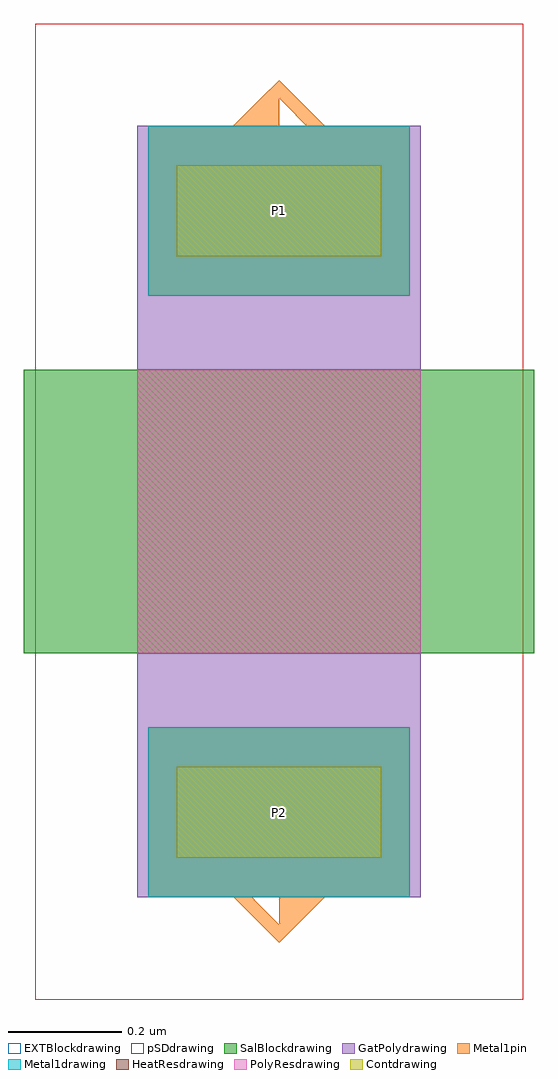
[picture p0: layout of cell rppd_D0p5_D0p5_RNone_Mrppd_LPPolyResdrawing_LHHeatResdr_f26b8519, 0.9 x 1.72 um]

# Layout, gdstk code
import gdstk
lib = gdstk.Library(unit=1e-6, precision=1e-09)
def R(c, l, rs):  # rectangles x0, y0, x1, y1
    for r in rs: c.add(gdstk.rectangle(r[:2], r[2:], *l))
def P(c, l, *ps):  # polygons
    for p in ps: c.add(gdstk.Polygon(p, *l))
GatPolydrawing = (5, 0)
Contdrawing = (6, 0)
Metal1drawing = (8, 0)
Metal1pin = (8, 2)
pSDdrawing = (14, 0)
SalBlockdrawing = (28, 0)
HeatResdrawing = (52, 0)
EXTBlockdrawing = (111, 0)
PolyResdrawing = (128, 0)

rectangle_gdsfactorypcom = lib.new_cell('rectangle_gdsfactorypcomponentspshapesprectangle_S0p9_0_e9f9a192')
R(rectangle_gdsfactorypcom, SalBlockdrawing, [(0,0,0.9,0.5)])

c_rectangle_gdsfactorypcom = lib.new_cell('rectangle_gdsfactorypcomponentspshapesprectangle_S0p9_0_a8e4ce53')
R(c_rectangle_gdsfactorypcom, EXTBlockdrawing, [(0,0,0.9,0.5)])

c_rectangle_gdsfactorypcom_ = lib.new_cell('rectangle_gdsfactorypcomponentspshapesprectangle_S0p86__0ea5da1c')
R(c_rectangle_gdsfactorypcom_, pSDdrawing, [(0,0,0.86,1.72)])

c_rectangle_gdsfactorypcom__ = lib.new_cell('rectangle_gdsfactorypcomponentspshapesprectangle_S0p86__1fb207a9')
R(c_rectangle_gdsfactorypcom__, EXTBlockdrawing, [(0,0,0.86,1.72)])

c_rectangle_gdsfactorypcom___ = lib.new_cell('rectangle_gdsfactorypcomponentspshapesprectangle_S0p46__ebcaa0f1')
R(c_rectangle_gdsfactorypcom___, Metal1drawing, [(0,0,0.46,0.3)])

c_rectangle_gdsfactorypcom____ = lib.new_cell('rectangle_gdsfactorypcomponentspshapesprectangle_S0p46__b6d3f0a7')
R(c_rectangle_gdsfactorypcom____, Metal1pin, [(0,0,0.46,0.3)])

c_rectangle_gdsfactorypcom_____ = lib.new_cell('rectangle_gdsfactorypcomponentspshapesprectangle_S0p36__7398b747')
R(c_rectangle_gdsfactorypcom_____, Contdrawing, [(0,0,0.36,0.16)])

c_rectangle_gdsfactorypcom______ = lib.new_cell('rectangle_gdsfactorypcomponentspshapesprectangle_S0p5_0_0861799f')
R(c_rectangle_gdsfactorypcom______, GatPolydrawing, [(0,0,0.5,0.43)])

c_rectangle_gdsfactorypcom_______ = lib.new_cell('rectangle_gdsfactorypcomponentspshapesprectangle_S0p5_0_955d4748')
R(c_rectangle_gdsfactorypcom_______, HeatResdrawing, [(0,0,0.5,0.5)])

c_rectangle_gdsfactorypcom________ = lib.new_cell('rectangle_gdsfactorypcomponentspshapesprectangle_S0p5_0_ce1d4e87')
R(c_rectangle_gdsfactorypcom________, PolyResdrawing, [(0,0,0.5,0.5)])

rppd_d0p5_d0p5_rnone_mrp = lib.new_cell('rppd_D0p5_D0p5_RNone_Mrppd_LPPolyResdrawing_LHHeatResdr_f26b8519')
P(rppd_d0p5_d0p5_rnone_mrp, Metal1pin, [(0.25,-0.51),(0.043,-0.303),(0.077,-0.303),(0.25,-0.478),(0.25,-0.303),(0.043,-0.303),(0.02,-0.28),(0.48,-0.28)],
  [(0.02,0.78),(0.218,0.978),(0.25,0.978),(0.25,0.803),(0.423,0.803),(0.25,0.978),(0.218,0.978),(0.25,1.01),(0.48,0.78)])
rppd_d0p5_d0p5_rnone_mrp.add(gdstk.Reference(rectangle_gdsfactorypcom, (-0.2,0)))
rppd_d0p5_d0p5_rnone_mrp.add(gdstk.Reference(c_rectangle_gdsfactorypcom, (-0.2,0)))
rppd_d0p5_d0p5_rnone_mrp.add(gdstk.Reference(c_rectangle_gdsfactorypcom_, (-0.18,-0.61)))
rppd_d0p5_d0p5_rnone_mrp.add(gdstk.Reference(c_rectangle_gdsfactorypcom__, (-0.18,-0.61)))
rppd_d0p5_d0p5_rnone_mrp.add(gdstk.Reference(c_rectangle_gdsfactorypcom___, (0.02,-0.43)))
rppd_d0p5_d0p5_rnone_mrp.add(gdstk.Reference(c_rectangle_gdsfactorypcom___, (0.02,0.63)))
rppd_d0p5_d0p5_rnone_mrp.add(gdstk.Reference(c_rectangle_gdsfactorypcom____, (0.02,-0.43)))
rppd_d0p5_d0p5_rnone_mrp.add(gdstk.Reference(c_rectangle_gdsfactorypcom____, (0.02,0.63)))
rppd_d0p5_d0p5_rnone_mrp.add(gdstk.Reference(c_rectangle_gdsfactorypcom_____, (0.07,-0.36)))
rppd_d0p5_d0p5_rnone_mrp.add(gdstk.Reference(c_rectangle_gdsfactorypcom_____, (0.07,0.7)))
rppd_d0p5_d0p5_rnone_mrp.add(gdstk.Reference(c_rectangle_gdsfactorypcom______, (0,-0.43)))
rppd_d0p5_d0p5_rnone_mrp.add(gdstk.Reference(c_rectangle_gdsfactorypcom______, (0,0.5)))
rppd_d0p5_d0p5_rnone_mrp.add(gdstk.Reference(c_rectangle_gdsfactorypcom_______, (0,0)))
rppd_d0p5_d0p5_rnone_mrp.add(gdstk.Reference(c_rectangle_gdsfactorypcom________, (0,0)))
rppd_d0p5_d0p5_rnone_mrp.add(gdstk.Label('P2', (0.25,-0.28), layer=8, texttype=2))
rppd_d0p5_d0p5_rnone_mrp.add(gdstk.Label('P1', (0.25,0.78), layer=8, texttype=2))

lib.write_gds('rppd_D0p5_D0p5_RNone_Mrppd_LPPolyResdrawing_LHHeatResdr_f26b8519.gds')
